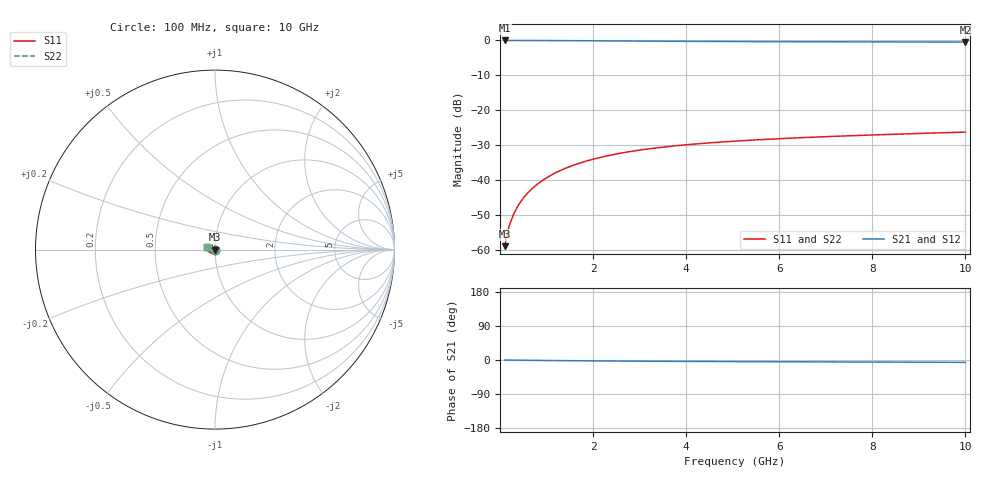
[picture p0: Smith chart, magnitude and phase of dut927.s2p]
! Touchstone file exported from HFSS 2024.1.0
!  File:  C:/UserFiles/LocalFiles/RDL_TSV_Batchsim/temp_TSV1_927_1779946729.aedt
!  Generated:  01:48:31 PM May 28, 2026
!  Design:  TSV1
!  Project:  temp_TSV1_927_1779946729
!  Setup:  Setup1
!  Solution:  Sweep
! Variables:
!  dtsv = 7.89um
!  hbump = 3um
!  htsv = 98.39um
!  lrdl = 252.1521522um
!  p = 40
!  p1 = 49.07um
!  t = 500um
!  trdl = 3um
!  wrdl = 24.89489489um
# GHz S MA R 50.000000
! Terminal data exported
! Port[1] = TSV22_T1
! Port[2] = TSV22_T2
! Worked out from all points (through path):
!   100 points, 100 MHz to 10 GHz, reference 50 ohm
!   highest |S21| = 0.00 dB at 100 MHz (marker M1); lowest = -0.5 dB at 10 GHz (marker M2)
!   lowest |S11| = -59.0 dB at 100 MHz (marker M3), VSWR 1.00, Z = 50 - j0.11 ohm
!   |S11| at or under -10 dB: start of sweep to end of sweep
!   |S22| runs from -59.0 to -26.3 dB; largest |S21 - S12| = 3.5e-15
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0.1  0.001128 -78.2  0.9997 -0.1  0.9997 -0.1  0.001128 -78.2
! Gamma 0 0 0 0
! Port Impedance 50 0 50 0
0.2  0.002218 -86.6  0.9996 -0.3  0.9996 -0.3  0.002218 -86.6
0.3  0.003316 -90.8  0.9994 -0.4  0.9994 -0.4  0.003316 -90.8
0.4  0.004411 -93.8  0.9991 -0.5  0.9991 -0.5  0.004411 -93.8
0.5  0.005498 -96.4  0.9988 -0.7  0.9988 -0.7  0.005498 -96.4
0.6  0.006576 -98.7  0.9984 -0.8  0.9984 -0.8  0.006576 -98.7
0.7  0.007642 -100.9  0.9979 -0.9  0.9979 -0.9  0.007642 -100.9
0.8  0.008694 -102.9  0.9974 -1.0  0.9974 -1.0  0.008694 -102.9
0.9  0.009732 -104.9  0.9969 -1.2  0.9969 -1.2  0.009732 -104.9
1.1  0.01176 -108.8  0.9956 -1.4  0.9956 -1.4  0.01176 -108.8
1.4  0.01465 -114.2  0.9933 -1.7  0.9933 -1.7  0.01465 -114.2
1.6  0.01648 -117.7  0.9917 -2.0  0.9917 -2.0  0.01648 -117.7
1.8  0.01821 -121.1  0.99 -2.2  0.99 -2.2  0.01821 -121.1
2.1  0.02065 -125.9  0.9873 -2.4  0.9873 -2.4  0.02065 -125.9
2.5  0.0236 -131.8  0.9836 -2.8  0.9836 -2.8  0.0236 -131.8
2.9  0.02621 -137.4  0.98 -3.0  0.98 -3.0  0.02621 -137.4
3.4  0.02906 -143.8  0.9758 -3.4  0.9758 -3.4  0.02906 -143.8
4.2  0.03284 -152.9  0.9699 -3.8  0.9699 -3.8  0.03284 -152.9
5.1  0.03626 -161.7  0.9644 -4.2  0.9644 -4.2  0.03626 -161.7
6.7  0.041 -174.6  0.9573 -4.9  0.9573 -4.9  0.041 -174.6
8.4  0.04512 174.3  0.9523 -5.6  0.9523 -5.6  0.04512 174.3
10  0.04863 165.5  0.949 -6.2  0.949 -6.2  0.04863 165.5
